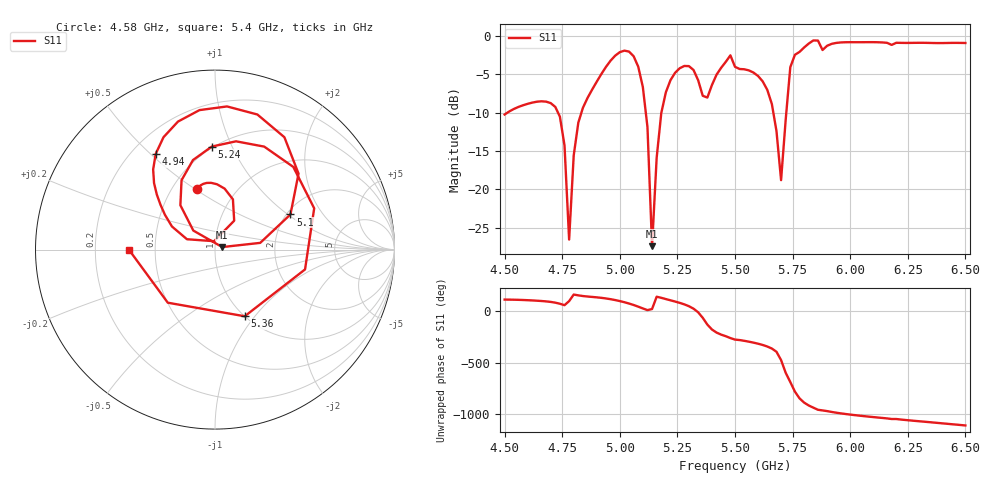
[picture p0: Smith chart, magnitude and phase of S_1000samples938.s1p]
! TOUCHSTONE file generated by CST MICROWAVE STUDIO
! Date and time: Sat Oct 29 21:02:00 2022
! Project name: L.cst
! Parameters = {Di=1.27; Epsilon_r=1.56; InnerDiameter=1.27; Length=2; Lf=10; Lg=60; OuterConductorThickness=0.2921; OuterDiameter=3.6; Wf=3; Wp=41.2; de=1.5; df=6.8; g=0.8; gx=1.14223; gy=0.483048; h=2.34; hf=1.524; px=13.6765; py=14.6182; w=9.7; wx=12.5342; wy=14.1351}
! Header version: 2018
! Port assignment regex: !\s*Touchstone port\s*([0-9]+)\s*=\s*(CST MWS port|CST DS port)\s*([0-9]+|Zmin|Zmax)\s*\(\"(.*)\"\)(\s*mode\s*([0-9]+))?.*
! Touchstone port assignment:
! Touchstone port 1 = CST MWS port 1 ("")
# GHz S DB R 50
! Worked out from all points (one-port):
!   101 points, 4.5 GHz to 6.5 GHz, reference 50 ohm
!   lowest |S11| = -27.4 dB at 5.14 GHz (marker M1), VSWR 1.09, Z = 54.2 + j1.53 ohm
!   |S11| at or under -10 dB: 4.732 GHz to 4.834 GHz (102 MHz wide, 2.13 % of centre); 5.113 GHz to 5.181 GHz (67.73 MHz wide, 1.32 % of centre); 5.666 GHz to 5.723 GHz (56.43 MHz wide, 0.991 % of centre) (the widest 3 of 4)
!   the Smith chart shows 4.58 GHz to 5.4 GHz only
!   S11 on the Smith chart (normalised r, x): 4.58 GHz: 0.66, +0.51; 4.94 GHz: 0.30, +0.52; 5.1 GHz: 2.10, +1.05; 5.24 GHz: 0.49, +0.84; 5.36 GHz: 1.00, -0.89; 5.4 GHz: 0.35, -0.00
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4.5  -10.25 110.9
4.58  -9.05 106.8
4.76  -14.28 56.4
4.78  -26.55 95.9
4.82  -11.31 151.8
4.94  -4.05 121.8
5  -2.14 96.3
5.1  -6.67 25.0
5.12  -11.88 8.5
5.14  -27.41 19.3
5.18  -10.07 128.0
5.24  -4.82 91.8
5.26  -4.23 79.0
5.32  -4.46 22.6
5.36  -7.81 -66.0
5.4  -6.41 -179.7
5.5  -4.04 82.8
5.64  -7.03 15.7
5.7  -18.80 -116.3
5.72  -10.94 120.8
5.74  -4.10 30.9
5.76  -2.48 -61.9
5.78  -2.10 -127.2
5.82  -1.02 163.6
5.86  -0.62 121.9
6  -0.84 75.2
6.26  -0.93 18.5
6.5  -0.94 -30.2
